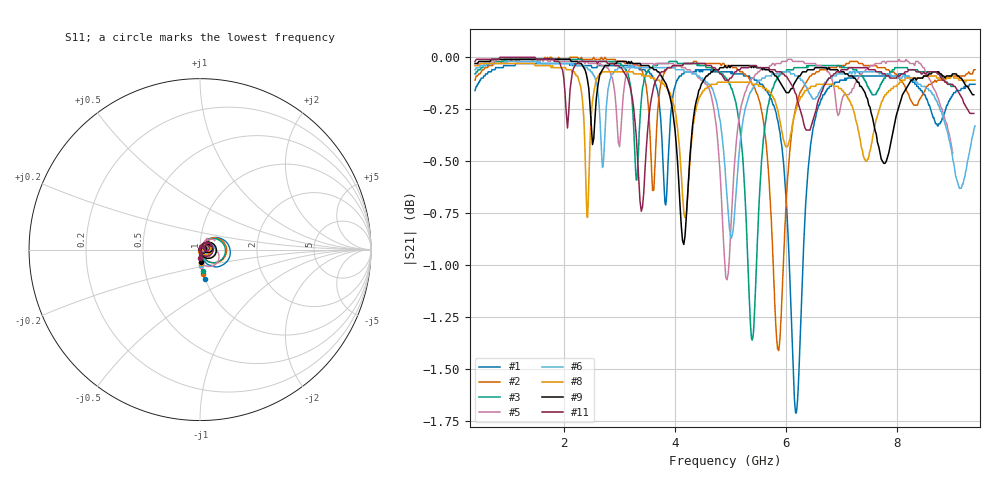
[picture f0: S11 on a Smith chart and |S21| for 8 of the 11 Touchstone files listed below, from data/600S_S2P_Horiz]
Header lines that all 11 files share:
!  One Norden Lane
!  Huntington Station,  NY.  11746-2102
!  Tel:  (631) 622-4700  Fax:  (631) 622-4748
!  Description: Ultra Low ESR Microwave capacitors
!  Application: Coupling, Bypass, Tuning, DC Block
!  Filters, Matching
# GHZ S DB R 50
! Freq  |S11|  S11 Ph  |S21|  S21 Ph  |S12|  S12 Ph  |S22|  S22 Ph
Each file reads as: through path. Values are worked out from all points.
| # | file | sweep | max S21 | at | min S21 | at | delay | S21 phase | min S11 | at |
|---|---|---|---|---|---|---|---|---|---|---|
| 1 | 600S220.S2P | 400 MHz to 9.4 GHz | -0.03 dB | 1.368 GHz | -1.7 dB | 6.183 GHz | 11 ps | -18 deg at 4.9 GHz | -52.2 dB | 2.853 GHz |
| 2 | 600S270.S2P | 400 MHz to 9.4 GHz | 0.00 dB | 1.66 GHz | -1.4 dB | 5.868 GHz | 11 ps | -18 deg at 4.9 GHz | -62.5 dB | 2.448 GHz |
| 3 | 600S300.S2P | 400 MHz to 9 GHz | -0.01 dB | 1.561 GHz | -1.4 dB | 5.388 GHz | 10.7 ps | -18 deg at 4.7 GHz | -64.1 dB | 2.367 GHz |
| 4 | 600S330.S2P | 400 MHz to 9.4 GHz | -0.01 dB | 1.525 GHz | -1.3 dB | 5.193 GHz | 10.7 ps | -20 deg at 4.9 GHz | -77.5 dB | 2.358 GHz |
| 5 | 600S390.S2P | 400 MHz to 9 GHz | -0.01 dB | 895 MHz | -1.1 dB | 4.937 GHz | 11.2 ps | -20 deg at 4.7 GHz | -49.1 dB | 6.506 GHz |
| 6 | 600S430.S2P | 400 MHz to 9.4 GHz | -0.02 dB | 940 MHz | -0.9 dB | 5.013 GHz | 10.4 ps | -20 deg at 4.9 GHz | -74.7 dB | 2.11 GHz |
| 7 | 600S470.S2P | 400 MHz to 9.4 GHz | -0.02 dB | 1.075 GHz | -1.1 dB | 4.45 GHz | 10.2 ps | -16 deg at 4.9 GHz | -71.7 dB | 1.908 GHz |
| 8 | 600S510FT.S2P | 400 MHz to 9.4 GHz | -0.03 dB | 1.03 GHz | -0.8 dB | 4.191 GHz | 9.97 ps | -17 deg at 4.9 GHz | -51.8 dB | 5.136 GHz |
| 9 | 600S560.S2P | 400 MHz to 9.378 GHz | -0.01 dB | 1.345 GHz | -0.9 dB | 4.158 GHz | 10.2 ps | -17 deg at 4.9 GHz | -47.3 dB | 2.853 GHz |
| 10 | 600S680.S2P | 400 MHz to 9.378 GHz | -0.01 dB | 1.3 GHz | -0.8 dB | 3.82 GHz | 10.2 ps | -17 deg at 4.9 GHz | -59.3 dB | 4.675 GHz |
| 11 | 600S820.S2P | 400 MHz to 9.378 GHz | 0.00 dB | 1.098 GHz | -0.7 dB | 3.393 GHz | 10.3 ps | -18 deg at 4.9 GHz | -60.1 dB | 3.978 GHz |
